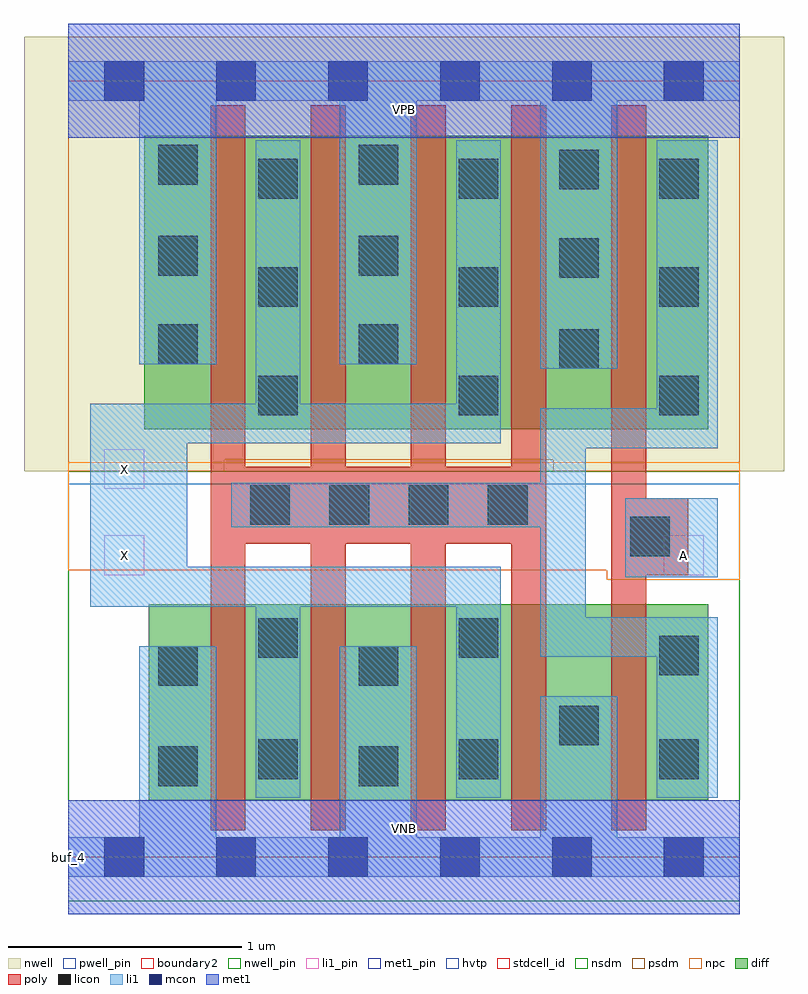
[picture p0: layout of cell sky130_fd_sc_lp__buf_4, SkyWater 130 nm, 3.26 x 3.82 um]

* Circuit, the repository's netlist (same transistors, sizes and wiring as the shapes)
* Copyright 2020 The SkyWater PDK Authors
*
* Licensed under the Apache License, Version 2.0 (the "License");
* you may not use this file except in compliance with the License.
* You may obtain a copy of the License at
*
*     https://www.apache.org/licenses/LICENSE-2.0
*
* Unless required by applicable law or agreed to in writing, software
* distributed under the License is distributed on an "AS IS" BASIS,
* WITHOUT WARRANTIES OR CONDITIONS OF ANY KIND, either express or implied.
* See the License for the specific language governing permissions and
* limitations under the License.
*
* SPDX-License-Identifier: Apache-2.0

.SUBCKT sky130_fd_sc_lp__buf_4 A VGND VNB VPB VPWR X
*.PININFO A:I VGND:I VNB:I VPB:I VPWR:I X:O
MMIN1 Ab A VGND VNB sky130_fd_pr__nfet_01v8 m=1 w=0.84U l=0.15U mult=1 sa=0.265
+ sb=0.265 sd=0.28 area=0.063 perim=1.14
MMIN2 X Ab VGND VNB sky130_fd_pr__nfet_01v8 m=4 w=0.84U l=0.15U mult=1 sa=0.265
+ sb=0.265 sd=0.28 area=0.063 perim=1.14
MMIP1 Ab A VPWR VPB sky130_fd_pr__pfet_01v8_hvt m=1 w=1.26U l=0.15U mult=1 sa=0.265
+ sb=0.265 sd=0.28 area=0.063 perim=1.14
MMIP2 X Ab VPWR VPB sky130_fd_pr__pfet_01v8_hvt m=4 w=1.26U l=0.15U mult=1 sa=0.265
+ sb=0.265 sd=0.28 area=0.063 perim=1.14
.ENDS sky130_fd_sc_lp__buf_4

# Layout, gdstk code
import gdstk
lib = gdstk.Library(unit=1e-6, precision=1e-09)
def R(c, l, rs):  # rectangles x0, y0, x1, y1
    for r in rs: c.add(gdstk.rectangle(r[:2], r[2:], *l))
def A(c, l, x, y, w, h, nx, ny, dx, dy):  # array of equal rectangles
    R(c, l, [(x+i*dx, y+j*dy, x+i*dx+w, y+j*dy+h) for i in range(nx) for j in range(ny)])
def P(c, l, *ps):  # polygons
    for p in ps: c.add(gdstk.Polygon(p, *l))
nwell_pin = (64, 16)
nwell = (64, 20)
diff = (65, 20)
poly = (66, 20)
licon = (66, 44)
li1_pin = (67, 16)
li1 = (67, 20)
mcon = (67, 44)
met1_pin = (68, 16)
met1 = (68, 20)
hvtp = (78, 44)
stdcell_id = (81, 4)
nsdm = (93, 44)
psdm = (94, 20)
npc = (95, 20)
pwell_pin = (122, 16)
boundary2 = (236, 0)

sky130_fd_sc_lp__buf_4 = lib.new_cell('sky130_fd_sc_lp__buf_4')
R(sky130_fd_sc_lp__buf_4, nwell_pin, [(0,3.085,2.88,3.33)])
R(sky130_fd_sc_lp__buf_4, nwell, [(-0.19,1.655,3.07,3.52)])
R(sky130_fd_sc_lp__buf_4, diff, [(0.345,0.245,2.745,1.085), (0.325,1.835,2.745,3.095)])
P(sky130_fd_sc_lp__buf_4, poly, [(2.05,3.225),(1.9,3.225),(1.9,1.675),(1.62,1.675),(1.62,3.225),(1.47,3.225),(1.47,1.675),(1.19,1.675),(1.19,3.225),(1.04,3.225),(1.04,1.675),(0.76,1.675),(0.76,3.225),(0.61,3.225),(0.61,0.115),(0.76,0.115),(0.76,1.345),(1.04,1.345),(1.04,0.115),(1.19,0.115),(1.19,1.345),(1.47,1.345),(1.47,0.115),(1.62,0.115),(1.62,1.345),(1.9,1.345),(1.9,0.115),(2.05,0.115)],
  [(2.66,1.54),(2.48,1.54),(2.48,3.225),(2.33,3.225),(2.33,0.115),(2.48,0.115),(2.48,1.21),(2.66,1.21)])
A(sky130_fd_sc_lp__buf_4, licon, 0.815, 0.335, 0.17, 0.17, 3, 2, 0.86, 1.56)
A(sky130_fd_sc_lp__buf_4, licon, 0.78, 1.425, 0.17, 0.17, 4, 1, 0.34, 0)
A(sky130_fd_sc_lp__buf_4, licon, 0.815, 2.36, 0.17, 0.17, 3, 2, 0.86, 0.465)
R(sky130_fd_sc_lp__buf_4, licon, [(0.385,0.305,0.555,0.475), (1.245,0.305,1.415,0.475), (2.105,0.48,2.275,0.65), (0.385,0.735,0.555,0.905), (1.245,0.735,1.415,0.905), (2.535,0.78,2.705,0.95), (0.815,0.855,0.985,1.025), (1.675,0.855,1.845,1.025), (2.41,1.29,2.58,1.46), (2.105,2.095,2.275,2.265), (0.385,2.115,0.555,2.285), (1.245,2.115,1.415,2.285), (2.105,2.485,2.275,2.655), (0.385,2.495,0.555,2.665), (1.245,2.495,1.415,2.665), (2.105,2.865,2.275,3.035), (0.385,2.885,0.555,3.055), (1.245,2.885,1.415,3.055)])
R(sky130_fd_sc_lp__buf_4, li1_pin, [(0.155,1.21,0.325,1.38), (2.555,1.21,2.725,1.38), (0.155,1.58,0.325,1.75)])
R(sky130_fd_sc_lp__buf_4, li1, [(2.39,1.2,2.785,1.54)])
P(sky130_fd_sc_lp__buf_4, li1, [(1.165,2.115),(1.165,3.245),(0.635,3.245),(0.635,2.115),(0.305,2.115),(0.305,3.245),(0,3.245),(0,3.415),(2.88,3.415),(2.88,3.245),(2.355,3.245),(2.355,2.095),(2.025,2.095),(2.025,3.245),(1.495,3.245),(1.495,2.115)],
  [(2.025,0.085),(2.025,0.69),(2.355,0.69),(2.355,0.085),(2.88,0.085),(2.88,-0.085),(0,-0.085),(0,0.085),(0.305,0.085),(0.305,0.905),(0.635,0.905),(0.635,0.085),(1.165,0.085),(1.165,0.905),(1.495,0.905),(1.495,0.085)],
  [(2.025,1.925),(2.525,1.925),(2.525,3.075),(2.785,3.075),(2.785,1.755),(2.22,1.755),(2.22,1.03),(2.785,1.03),(2.785,0.255),(2.525,0.255),(2.525,0.86),(2.025,0.86),(2.025,1.415),(0.7,1.415),(0.7,1.605),(2.025,1.605)],
  [(0.995,1.945),(1.665,1.945),(1.665,3.075),(1.855,3.075),(1.855,1.775),(0.51,1.775),(0.51,1.245),(1.855,1.245),(1.855,0.255),(1.665,0.255),(1.665,1.075),(0.995,1.075),(0.995,0.255),(0.805,0.255),(0.805,1.075),(0.095,1.075),(0.095,1.945),(0.805,1.945),(0.805,3.075),(0.995,3.075)])
A(sky130_fd_sc_lp__buf_4, mcon, 0.155, -0.085, 0.17, 0.17, 6, 2, 0.48, 3.33)
R(sky130_fd_sc_lp__buf_4, met1_pin, [(0,0,2.88,0.245), (0,3.085,2.88,3.33)])
R(sky130_fd_sc_lp__buf_4, met1, [(0,-0.245,2.88,0.245), (0,3.085,2.88,3.575)])
R(sky130_fd_sc_lp__buf_4, hvtp, [(0,1.6,2.88,3.33)])
R(sky130_fd_sc_lp__buf_4, stdcell_id, [(0,0,2.88,3.33)])
R(sky130_fd_sc_lp__buf_4, nsdm, [(0,-0.19,2.88,1.655)])
P(sky130_fd_sc_lp__buf_4, psdm, [(2.88,3.52),(0,3.52),(0,1.655),(0.67,1.655),(0.67,1.705),(2.08,1.705),(2.08,1.655),(2.88,1.655)])
P(sky130_fd_sc_lp__buf_4, npc, [(2.88,1.695),(0,1.695),(0,1.23),(2.31,1.23),(2.31,1.19),(2.88,1.19)])
R(sky130_fd_sc_lp__buf_4, pwell_pin, [(0,0,2.88,0.245)])
R(sky130_fd_sc_lp__buf_4, boundary2, [(0,0,2.88,3.33)])
sky130_fd_sc_lp__buf_4.add(gdstk.Label('VNB', (1.44,0.123), layer=64, texttype=59))
sky130_fd_sc_lp__buf_4.add(gdstk.Label('VPB', (1.44,3.208), layer=64, texttype=5))
sky130_fd_sc_lp__buf_4.add(gdstk.Label('buf_4', (0,0), layer=83, texttype=44))
sky130_fd_sc_lp__buf_4.add(gdstk.Label('VPWR', (1.44,3.208), layer=68, texttype=5))
sky130_fd_sc_lp__buf_4.add(gdstk.Label('VGND', (1.44,0.123), layer=68, texttype=5))
sky130_fd_sc_lp__buf_4.add(gdstk.Label('A', (2.64,1.295), layer=67, texttype=5))
sky130_fd_sc_lp__buf_4.add(gdstk.Label('X', (0.24,1.295), layer=67, texttype=5))
sky130_fd_sc_lp__buf_4.add(gdstk.Label('X', (0.24,1.665), layer=67, texttype=5))

lib.write_gds('sky130_fd_sc_lp__buf_4.gds')
